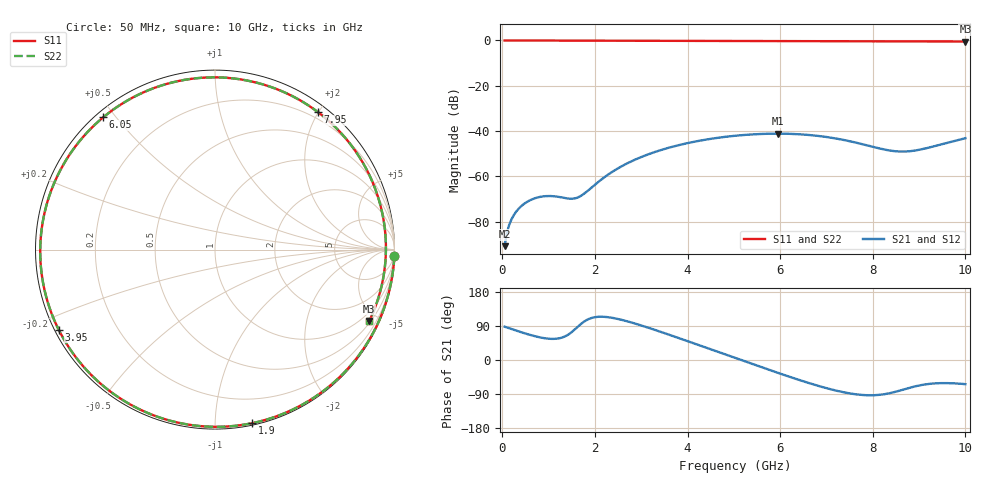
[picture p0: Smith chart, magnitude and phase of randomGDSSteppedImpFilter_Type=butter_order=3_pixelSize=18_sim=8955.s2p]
! freq	dB(S11)	phase(S11)	dB(S12)	phase(S12)
!  dB(S21)	phase(S21)	dB(S22)	phase(S22)
!S-par simulation data
#  GHz  S  DB  R 50
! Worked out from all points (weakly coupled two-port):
!   200 points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, 50 MHz to 10 GHz, reference 50 ohm
!   highest |S21| = -41.15 dB at 5.95 GHz (marker M1); lowest = -90.8 dB at 50 MHz (marker M2)
!   lowest |S11| = -0.5 dB at 10 GHz (marker M3), VSWR 36.81, Z = 28.9 - j223 ohm
!   |S11| at or under -10 dB: nowhere
!   |S22| runs from -0.5 to 0.0 dB; largest |S21 - S12| = 0
!   S11 on the Smith chart (normalised r, x): 50 MHz: 0, -53; 1.9 GHz: 0.01, -1.24; 3.95 GHz: 0.01, -0.24; 6.05 GHz: 0.02, +0.46; 7.95 GHz: 0.11, +2.00; 10 GHz: 0.58, -4.47
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0.05  -0.00 -2.1  -90.82 87.9  -90.82 87.9  -0.00 -2.1
0.15  -0.01 -6.4  -81.35 83.8  -81.35 83.8  -0.01 -6.4
0.4  -0.02 -17.0  -73.33 73.6  -73.33 73.6  -0.02 -17.0
0.7  -0.04 -29.5  -69.70 62.9  -69.70 62.9  -0.04 -29.6
1  -0.05 -42.0  -68.68 56.2  -68.68 56.2  -0.05 -42.0
1.5  -0.08 -62.2  -69.87 73.8  -69.87 73.8  -0.08 -62.2
1.75  -0.09 -72.1  -67.91 99.9  -67.91 99.9  -0.09 -72.1
1.9  -0.10 -77.9  -65.44 109.8  -65.44 109.8  -0.10 -77.9
2.55  -0.12 -102.6  -55.85 106.8  -55.85 106.8  -0.12 -102.6
3.4  -0.16 -133.4  -48.55 75.2  -48.55 75.2  -0.16 -133.4
3.95  -0.19 -152.9  -45.55 51.9  -45.55 51.9  -0.19 -153.0
4.5  -0.22 -172.4  -43.44 28.2  -43.44 28.2  -0.22 -172.5
5.05  -0.25 167.8  -42.03 4.5  -42.03 4.5  -0.25 167.7
5.95  -0.30 134.1  -41.15 -33.9  -41.15 -33.9  -0.30 134.0
6.05  -0.31 130.2  -41.16 -38.0  -41.16 -38.0  -0.31 130.1
6.7  -0.34 104.5  -41.88 -63.8  -41.88 -63.8  -0.34 104.3
7.3  -0.36 79.9  -43.64 -83.3  -43.64 -83.3  -0.37 79.8
7.95  -0.38 53.1  -46.69 -93.1  -46.69 -93.1  -0.38 52.9
8.35  -0.39 36.7  -48.53 -88.0  -48.53 -88.0  -0.39 36.5
8.75  -0.40 20.8  -48.99 -74.9  -48.99 -74.9  -0.40 20.6
9.15  -0.42 5.4  -47.61 -64.1  -47.61 -64.1  -0.42 5.2
10  -0.47 -24.8  -43.16 -63.7  -43.16 -63.7  -0.47 -25.0
